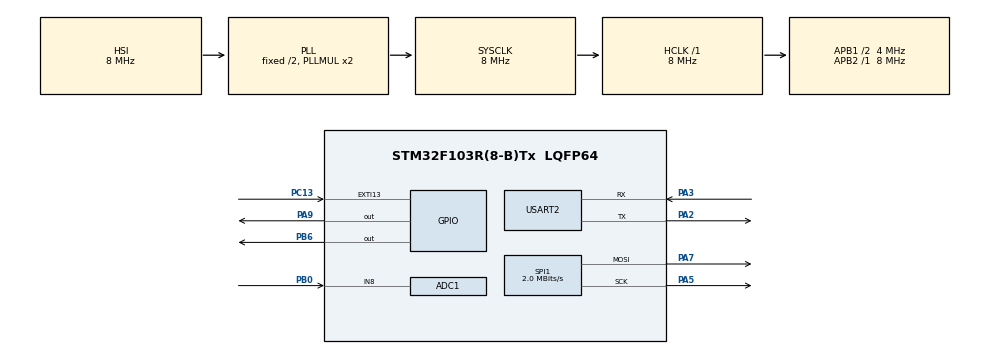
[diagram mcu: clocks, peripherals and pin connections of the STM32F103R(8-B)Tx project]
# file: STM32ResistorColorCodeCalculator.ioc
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ADC1.Channel-9\#ChannelRegularConversion=ADC_CHANNEL_8
ADC1.ContinuousConvMode=ENABLE
ADC1.NbrOfConversionFlag=1
ADC1.Rank-9\#ChannelRegularConversion=1
ADC1.SamplingTime-9\#ChannelRegularConversion=ADC_SAMPLETIME_1CYCLE_5
ADC1.master=1
FREERTOS.HEAP_NUMBER=4
FREERTOS.Mutexes01=uart2Mutex,Dynamic,NULL;spiMutex,Dynamic,NULL
FREERTOS.Queues01=joystickDisplayQueue,16,uint16_t,0,Dynamic,NULL,NULL
FREERTOS.Tasks01=defaultTask,0,128,StartDefaultTask,Default,NULL,Dynamic,NULL,NULL;joystickTask,0,128,startJoystickTask,Default,NULL,Dynamic,NULL,NULL;displayTask,0,128,startDisplayTask,Default,NULL,Dynamic,NULL,NULL
Mcu.Family=STM32F1
Mcu.Name=STM32F103R(8-B)Tx
Mcu.Package=LQFP64
NVIC.PriorityGroup=NVIC_PRIORITYGROUP_4
NVIC.TIM3_IRQn=true\:0\:0\:false\:false\:true\:false\:false\:true
NVIC.TimeBase=TIM3_IRQn
NVIC.TimeBaseIP=TIM3
PA13.Mode=Serial_Wire
PA13.Signal=SYS_JTMS-SWDIO
PA14.Mode=Serial_Wire
PA14.Signal=SYS_JTCK-SWCLK
PA2.GPIO_Mode=GPIO_MODE_AF_PP
PA2.GPIO_PuPd=GPIO_NOPULL
PA2.GPIO_Speed=GPIO_SPEED_FREQ_HIGH
PA2.Mode=Asynchronous
PA2.Signal=USART2_TX
PA3.GPIO_Mode=GPIO_MODE_INPUT
PA3.GPIO_PuPd=GPIO_NOPULL
PA3.GPIO_Speed=GPIO_SPEED_FREQ_LOW
PA3.Mode=Asynchronous
PA3.Signal=USART2_RX
PA5.Mode=TX_Only_Simplex_Unidirect_Master
PA5.Signal=SPI1_SCK
PA7.Mode=TX_Only_Simplex_Unidirect_Master
PA7.Signal=SPI1_MOSI
PA9.Signal=GPIO_Output
PB0.Signal=ADCx_IN8
PB3.Signal=SYS_JTDO-TRACESWO
PB6.Signal=GPIO_Output
PC13-TAMPER-RTC.GPIO_ModeDefaultEXTI=GPIO_MODE_IT_RISING
PC13-TAMPER-RTC.GPIO_PuPd=GPIO_NOPULL
PC13-TAMPER-RTC.Signal=GPXTI13
PC14-OSC32_IN.Mode=LSE-External-Oscillator
PC14-OSC32_IN.Signal=RCC_OSC32_IN
PC15-OSC32_OUT.Mode=LSE-External-Oscillator
PC15-OSC32_OUT.Signal=RCC_OSC32_OUT
PD0-OSC_IN.Mode=HSE-External-Clock-Source
PD0-OSC_IN.Signal=RCC_OSC_IN
PD1-OSC_OUT.Mode=HSE-External-Clock-Source
PD1-OSC_OUT.Signal=RCC_OSC_OUT
ProjectManager.HeapSize=0x200
ProjectManager.StackSize=0x400
ProjectManager.TargetToolchain=MDK-ARM V5
RCC.AHBFreq_Value=8000000
RCC.APB1CLKDivider=RCC_HCLK_DIV2
RCC.APB1Freq_Value=4000000
RCC.APB1TimFreq_Value=8000000
RCC.APB2Freq_Value=8000000
RCC.APB2TimFreq_Value=8000000
RCC.HCLKFreq_Value=8000000
RCC.RTCClockSelection=RCC_RTCCLKSOURCE_LSE
RCC.SYSCLKFreq_VALUE=8000000
RCC.SYSCLKSource=RCC_SYSCLKSOURCE_PLLCLK
RCC.USBFreq_Value=8000000
SH.ADCx_IN8.0=ADC1_IN8,IN8
SPI1.BaudRatePrescaler=SPI_BAUDRATEPRESCALER_4
SPI1.CalculateBaudRate=2.0 MBits/s
SPI1.Direction=SPI_DIRECTION_2LINES
SPI1.Mode=SPI_MODE_MASTER
SPI1.VirtualType=VM_MASTER
USART2.VirtualMode=VM_ASYNC
VP_FREERTOS_VS_CMSIS_V1.Mode=CMSIS_V1
VP_SYS_VS_tim3.Mode=TIM3
board=NUCLEO-F103RB

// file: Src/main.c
/* USER CODE BEGIN Header */
/**
  ******************************************************************************
  * @file           : main.c
  * @brief          : Main program body
  ******************************************************************************
  * @attention
  *
  * <h2><center>&copy; Copyright (c) 2019 STMicroelectronics.
  * All rights reserved.</center></h2>
  *
  * This software component is licensed by ST under Ultimate Liberty license
  * SLA0044, the "License"; You may not use this file except in compliance with
  * the License. You may obtain a copy of the License at:
  *                             www.st.com/SLA0044
  *
  ******************************************************************************
  */
/* USER CODE END Header */

#include "main.h"
#include "cmsis_os.h"

/* USER CODE BEGIN Includes */
#include <string.h>
#include "st7735.h"
/* USER CODE END Includes */

/* USER CODE BEGIN PD */
// Joystick direction definitions
#define jsNeutral 0
#define jsPress 1
#define jsUp 2
#define jsDown 3
#define jsRight 4
#define jsLeft 5
/* USER CODE END PD */

ADC_HandleTypeDef hadc1;

SPI_HandleTypeDef hspi1;

UART_HandleTypeDef huart2;

osThreadId defaultTaskHandle;
osThreadId joystickTaskHandle;
osThreadId displayTaskHandle;
osMessageQId joystickDisplayQueueHandle;
osMutexId uart2MutexHandle;
osMutexId spiMutexHandle;
/* USER CODE BEGIN PV */
// LED Blinking PVs
int pinDelay[4] = {50, 100, 300, 600};
volatile uint8_t pinDelayIndex = 0;
// Joystick PVs
uint8_t jsHeld = 0; // 0 - false, 1 - true

// Logic PVs
uint8_t pointerIndex = 0; // inddex for pointer for resistor color selection
uint8_t bandIndex = 0; // index for resistor band selection
enum logicState {IDLE, SEL_FIRST, SEL_SECOND, SEL_THIRD, SEL_FOURTH, CHECK_CALC, CALC};
enum logicState currState = IDLE; // FSM state for resistor color code selection

// Display PVs
const uint16_t backgroundColor = 0x9BCE;
const uint16_t pointerColor = 0x001F;
const uint16_t resistorColor = 0xCF9F;
const uint16_t resistorBandColors[] = {0x0000, 0x3374, 0x001F, 0x1CDF, 0x1F9F,
                                       0x1FEC, 0xFAE3, 0xFC75, 0x9C92, 0xFFDF};
const uint8_t bandIndices[] = {46, 63, 80, 106};
uint8_t selectedValues[] = {0xFF, 0xFF, 0xFF, 0xFF}; // Values defaulted to 0xFF
/* USER CODE END PV */

void SystemClock_Config(void);
static void MX_GPIO_Init(void);
static void MX_USART2_UART_Init(void);
static void MX_ADC1_Init(void);
static void MX_SPI1_Init(void);
void StartDefaultTask(void const * argument);
void startJoystickTask(void const * argument);
void startDisplayTask(void const * argument);

/* USER CODE BEGIN PFP */
uint8_t checkJoystick();
/* USER CODE END PFP */

int main(void)
{

  /* MCU Configuration--------------------------------------------------------*/

  /* Reset of all peripherals, Initializes the Flash interface and the Systick. */
  HAL_Init();

  /* Configure the system clock */
  SystemClock_Config();

  /* Initialize all configured peripherals */
  MX_GPIO_Init();
  MX_USART2_UART_Init();
  MX_ADC1_Init();
  MX_SPI1_Init();
  /* USER CODE BEGIN 2 */
  // Keep slave select high for now
  HAL_GPIO_WritePin(GPIOB, GPIO_PIN_6, GPIO_PIN_SET);
  //ST7735Initialize();
  /* USER CODE END 2 */

  /* Create the mutex(es) */
  /* definition and creation of uart2Mutex */
  osMutexDef(uart2Mutex);
  uart2MutexHandle = osMutexCreate(osMutex(uart2Mutex));

  /* definition and creation of spiMutex */
  osMutexDef(spiMutex);
  spiMutexHandle = osMutexCreate(osMutex(spiMutex));

  /* Create the queue(s) */
  /* definition and creation of joystickDisplayQueue */
  osMessageQDef(joystickDisplayQueue, 16, uint16_t);
  joystickDisplayQueueHandle = osMessageCreate(osMessageQ(joystickDisplayQueue), NULL);

  /* Create the thread(s) */
  /* definition and creation of defaultTask */
  osThreadDef(defaultTask, StartDefaultTask, osPriorityNormal, 0, 128);
  defaultTaskHandle = osThreadCreate(osThread(defaultTask), NULL);

  /* definition and creation of joystickTask */
  osThreadDef(joystickTask, startJoystickTask, osPriorityNormal, 0, 128);
  joystickTaskHandle = osThreadCreate(osThread(joystickTask), NULL);

  /* definition and creation of displayTask */
  osThreadDef(displayTask, startDisplayTask, osPriorityNormal, 0, 128);
  displayTaskHandle = osThreadCreate(osThread(displayTask), NULL);

  /* Start scheduler */
  osKernelStart();

  /* We should never get here as control is now taken by the scheduler */

  /* Infinite loop */
  while (1)
  {

  }
}

void SystemClock_Config(void)
{
  RCC_OscInitTypeDef RCC_OscInitStruct = {0};
  RCC_ClkInitTypeDef RCC_ClkInitStruct = {0};
  RCC_PeriphCLKInitTypeDef PeriphClkInit = {0};

  /** Initializes the CPU, AHB and APB busses clocks
  */
  RCC_OscInitStruct.OscillatorType = RCC_OSCILLATORTYPE_HSI;
  RCC_OscInitStruct.HSIState = RCC_HSI_ON;
  RCC_OscInitStruct.HSICalibrationValue = RCC_HSICALIBRATION_DEFAULT;
  RCC_OscInitStruct.PLL.PLLState = RCC_PLL_ON;
  RCC_OscInitStruct.PLL.PLLSource = RCC_PLLSOURCE_HSI_DIV2;
  RCC_OscInitStruct.PLL.PLLMUL = RCC_PLL_MUL2;
  if (HAL_RCC_OscConfig(&RCC_OscInitStruct) != HAL_OK)
  {
    Error_Handler();
  }
  /** Initializes the CPU, AHB and APB busses clocks
  */
  RCC_ClkInitStruct.ClockType = RCC_CLOCKTYPE_HCLK|RCC_CLOCKTYPE_SYSCLK
                              |RCC_CLOCKTYPE_PCLK1|RCC_CLOCKTYPE_PCLK2;
  RCC_ClkInitStruct.SYSCLKSource = RCC_SYSCLKSOURCE_PLLCLK;
  RCC_ClkInitStruct.AHBCLKDivider = RCC_SYSCLK_DIV1;
  RCC_ClkInitStruct.APB1CLKDivider = RCC_HCLK_DIV2;
  RCC_ClkInitStruct.APB2CLKDivider = RCC_HCLK_DIV1;

  if (HAL_RCC_ClockConfig(&RCC_ClkInitStruct, FLASH_LATENCY_0) != HAL_OK)
  {
    Error_Handler();
  }
  PeriphClkInit.PeriphClockSelection = RCC_PERIPHCLK_ADC;
  PeriphClkInit.AdcClockSelection = RCC_ADCPCLK2_DIV2;
  if (HAL_RCCEx_PeriphCLKConfig(&PeriphClkInit) != HAL_OK)
  {
    Error_Handler();
  }
}

static void MX_ADC1_Init(void)
{

  ADC_ChannelConfTypeDef sConfig = {0};

  /** Common config
  */
  hadc1.Instance = ADC1;
  hadc1.Init.ScanConvMode = ADC_SCAN_DISABLE;
  hadc1.Init.ContinuousConvMode = ENABLE;
  hadc1.Init.DiscontinuousConvMode = DISABLE;
  hadc1.Init.ExternalTrigConv = ADC_SOFTWARE_START;
  hadc1.Init.DataAlign = ADC_DATAALIGN_RIGHT;
  hadc1.Init.NbrOfConversion = 1;
  if (HAL_ADC_Init(&hadc1) != HAL_OK)
  {
    Error_Handler();
  }
  /** Configure Regular Channel
  */
  sConfig.Channel = ADC_CHANNEL_8;
  sConfig.Rank = ADC_REGULAR_RANK_1;
  sConfig.SamplingTime = ADC_SAMPLETIME_1CYCLE_5;
  if (HAL_ADC_ConfigChannel(&hadc1, &sConfig) != HAL_OK)
  {
    Error_Handler();
  }

}

static void MX_SPI1_Init(void)
{

  /* SPI1 parameter configuration*/
  hspi1.Instance = SPI1;
  hspi1.Init.Mode = SPI_MODE_MASTER;
  hspi1.Init.Direction = SPI_DIRECTION_2LINES;
  hspi1.Init.DataSize = SPI_DATASIZE_8BIT;
  hspi1.Init.CLKPolarity = SPI_POLARITY_LOW;
  hspi1.Init.CLKPhase = SPI_PHASE_1EDGE;
  hspi1.Init.NSS = SPI_NSS_SOFT;
  hspi1.Init.BaudRatePrescaler = SPI_BAUDRATEPRESCALER_4;
  hspi1.Init.FirstBit = SPI_FIRSTBIT_MSB;
  hspi1.Init.TIMode = SPI_TIMODE_DISABLE;
  hspi1.Init.CRCCalculation = SPI_CRCCALCULATION_DISABLE;
  hspi1.Init.CRCPolynomial = 10;
  if (HAL_SPI_Init(&hspi1) != HAL_OK)
  {
    Error_Handler();
  }

}

static void MX_USART2_UART_Init(void)
{

  huart2.Instance = USART2;
  huart2.Init.BaudRate = 115200;
  huart2.Init.WordLength = UART_WORDLENGTH_8B;
  huart2.Init.StopBits = UART_STOPBITS_1;
  huart2.Init.Parity = UART_PARITY_NONE;
  huart2.Init.Mode = UART_MODE_TX_RX;
  huart2.Init.HwFlowCtl = UART_HWCONTROL_NONE;
  huart2.Init.OverSampling = UART_OVERSAMPLING_16;
  if (HAL_UART_Init(&huart2) != HAL_OK)
  {
    Error_Handler();
  }

}

static void MX_GPIO_Init(void)
{
  GPIO_InitTypeDef GPIO_InitStruct = {0};

  /* GPIO Ports Clock Enable */
  __HAL_RCC_GPIOC_CLK_ENABLE();
  __HAL_RCC_GPIOD_CLK_ENABLE();
  __HAL_RCC_GPIOA_CLK_ENABLE();
  __HAL_RCC_GPIOB_CLK_ENABLE();

  /*Configure GPIO pin Output Level */
  HAL_GPIO_WritePin(GPIOA, GPIO_PIN_9, GPIO_PIN_RESET);

  /*Configure GPIO pin Output Level */
  HAL_GPIO_WritePin(GPIOB, GPIO_PIN_6, GPIO_PIN_RESET);

  /*Configure GPIO pin : PC13 */
  GPIO_InitStruct.Pin = GPIO_PIN_13;
  GPIO_InitStruct.Mode = GPIO_MODE_IT_RISING;
  GPIO_InitStruct.Pull = GPIO_NOPULL;
  HAL_GPIO_Init(GPIOC, &GPIO_InitStruct);

  /*Configure GPIO pin : PA9 */
  GPIO_InitStruct.Pin = GPIO_PIN_9;
  GPIO_InitStruct.Mode = GPIO_MODE_OUTPUT_PP;
  GPIO_InitStruct.Pull = GPIO_NOPULL;
  GPIO_InitStruct.Speed = GPIO_SPEED_FREQ_LOW;
  HAL_GPIO_Init(GPIOA, &GPIO_InitStruct);

  /*Configure GPIO pin : PB6 */
  GPIO_InitStruct.Pin = GPIO_PIN_6;
  GPIO_InitStruct.Mode = GPIO_MODE_OUTPUT_PP;
  GPIO_InitStruct.Pull = GPIO_NOPULL;
  GPIO_InitStruct.Speed = GPIO_SPEED_FREQ_LOW;
  HAL_GPIO_Init(GPIOB, &GPIO_InitStruct);

}

/* USER CODE BEGIN 4 */
void HAL_GPIO_EXTI_Callback(uint16_t GPIO_Pin) {
  if (pinDelayIndex < sizeof(pinDelay)/sizeof(pinDelay[0]) - 1) {
    pinDelayIndex++;
  } else {
    pinDelayIndex = 0;
  }
}

uint8_t checkJoystick() {
  HAL_ADC_PollForConversion(&hadc1, HAL_MAX_DELAY);
  int val = HAL_ADC_GetValue(&hadc1);
  val = val >> 2; // Reduce from 12-bit res to 10-bit
  if (val < 50) {
    return jsLeft;
  } else if (val < 200) {
    return jsDown;
  } else if (val < 400) {
    return jsPress;
  } else if (val < 600) {
    return jsRight;
  } else if (val < 950) {
    return jsUp;
  }
  return jsNeutral;
}

void drawPointer(uint8_t x, uint8_t y, uint8_t w, uint8_t h, uint16_t color, uint16_t bgColor) {
  uint8_t sendDataColor[] = {color >> 8, color & 0xFF};
  uint8_t sendDataBgColor[] = {bgColor >> 8, bgColor & 0xFF};
  ST7735Select();
  setAddrWindow(x, y, w, h);
  for (int j = 0; j < h; j++) {
    for (int i = 0; i < w; i++) {
      if ( i <= ((w / 2) + j) && i >= ((w / 2) - j)) {
        ST7735WriteData(sendDataColor, sizeof(sendDataColor));
      } else {
        ST7735WriteData(sendDataBgColor, sizeof(sendDataBgColor));
      }
    }
  }
  ST7735Deselect();
}

void drawResistor() {
  drawRectangle(0, 50, 20, 10, 0xF79E);
  drawRectangle(ST7735_TFTWIDTH - 20, 50, 20, 10, 0xF79E);
  drawRectangle(20, 45, ST7735_TFTWIDTH - 40, 20, resistorColor);
  drawRectangle(22, 43, 40, 2, resistorColor);
  drawRectangle(98, 43, 40, 2, resistorColor);
  drawRectangle(22, 65, 40, 2, resistorColor);
  drawRectangle(98, 65, 40, 2, resistorColor);
  drawRectangle(28, 41, 24, 2, resistorColor);
  drawRectangle(108, 41, 24, 2, resistorColor);
  drawRectangle(28, 67, 24, 2, resistorColor);
  drawRectangle(108, 67, 24, 2, resistorColor);
}

void drawFirstBand(uint16_t color) {
  drawRectangle(46, 41, 6, 28, color);
  drawRectangle(52, 43, 4, 24, color);
}

void drawSecondBand(uint16_t color) {
  drawRectangle(63, 45, 10, 20, color);
}

void drawThirdBand(uint16_t color) {
  drawRectangle(80, 45, 10, 20, color);
}

void drawFourthBand(uint16_t color) {
  drawRectangle(106, 43, 2, 24, color);
  drawRectangle(108, 41, 8, 28, color);
}

void resistorGuiInit() {
  //{0x0000, 0x3374, 0x001F, 0x1CDF, 0x1F9F, 0x1FEC, 0xFAE3, 0xFC75, 0x9C92, 0xFFDF}
  // Draw resistor color codes
  drawRectangle(0, 0, 16, 10, resistorBandColors[0]); // Black
  drawRectangle(16, 0, 16, 10, resistorBandColors[1]); // Brown
  drawRectangle(32, 0, 16, 10, resistorBandColors[2]); // Red
  drawRectangle(48, 0, 16, 10, resistorBandColors[3]); // Orange
  drawRectangle(64, 0, 16, 10, resistorBandColors[4]); // Yellow
  drawRectangle(80, 0, 16, 10, resistorBandColors[5]); // Green
  drawRectangle(96, 0, 16, 10, resistorBandColors[6]); // Blue
  drawRectangle(112, 0, 16, 10, resistorBandColors[7]); // Violet
  drawRectangle(128, 0, 16, 10, resistorBandColors[8]); // Grey
  drawRectangle(144, 0, 16, 10, resistorBandColors[9]); // White
  drawPointer(0, 15, 15, 10, pointerColor, backgroundColor); // Color pointer
  drawPointer(46, 80, 10, 5, pointerColor, backgroundColor); // Band pointer
  // Draw resistor
  drawResistor();
}

// Note: char* buff must point to an array of at least size 11
void int2str(uint64_t num, char* buff) {
  char values[11];
  uint8_t valuesIndex = 0;
  uint8_t digit = num % 10;
  values[valuesIndex++] = "0123456789"[digit];
  num /= 10;
  while (num != 0) {
    digit = num % 10;
    values[valuesIndex++] = "0123456789"[digit];
    num /= 10;
  }

  while (valuesIndex > 0) {
    *buff = values[--valuesIndex];
    buff++;
  }
  return;
}

/* USER CODE END 4 */

void StartDefaultTask(void const * argument)
{

  for(;;)
  {
    osDelay(1);
  }
}

void startJoystickTask(void const * argument)
{
  /* USER CODE BEGIN startJoystickTask */
  HAL_ADC_Start(&hadc1);
  /* Infinite loop */
  for(;;)
  {
    uint8_t jsCommand = checkJoystick();
    if (jsCommand != jsNeutral) {
      if (jsHeld == 0) {
        osMutexWait(uart2MutexHandle, 50);
        osMutexWait(spiMutexHandle, 50);
        switch(jsCommand) {
          case jsUp:
            HAL_UART_Transmit(&huart2, (uint8_t*)"Up\r\n", strlen("Up\r\n"), HAL_MAX_DELAY);
            if (bandIndex > 0) {
              drawRectangle(bandIndices[bandIndex--], 80, 10, 10, backgroundColor);
            } else {
              drawRectangle(bandIndices[bandIndex], 80, 10, 10, backgroundColor);
              bandIndex = 3;
            }
            drawPointer(bandIndices[bandIndex], 80, 10, 5, pointerColor, backgroundColor);
            break;
          case jsDown:
            HAL_UART_Transmit(&huart2, (uint8_t*)"Down\r\n", strlen("Down\r\n"), HAL_MAX_DELAY);
            if (bandIndex < 3) {
              drawRectangle(bandIndices[bandIndex++], 80, 10, 10, backgroundColor);
            } else {
              drawRectangle(bandIndices[bandIndex], 80, 10, 10, backgroundColor);
              bandIndex = 0;
            }
            drawPointer(bandIndices[bandIndex], 80, 10, 5, pointerColor, backgroundColor);
            break;
          case jsLeft:
            HAL_UART_Transmit(&huart2, (uint8_t*)"Left\r\n", strlen("Left\r\n"), HAL_MAX_DELAY);
            if (pointerIndex > 0) {
              drawRectangle(16 * pointerIndex--, 15, 15, 10, backgroundColor);
            } else {
              drawRectangle(16 * pointerIndex, 15, 15, 10, backgroundColor);
              pointerIndex = 9;
            }
            drawPointer(16 * pointerIndex, 15, 15, 10, pointerColor, backgroundColor);
            break;
          case jsRight:
            HAL_UART_Transmit(&huart2, (uint8_t*)"Right\r\n", strlen("Right\r\n"), HAL_MAX_DELAY);
            if (pointerIndex < 9) {
              drawRectangle(16 * pointerIndex++, 15, 15, 10, backgroundColor);
            } else {
              drawRectangle(16 * pointerIndex, 15, 15, 10, backgroundColor);
              pointerIndex = 0;
            }
            drawPointer(16 * pointerIndex, 15, 15, 10, pointerColor, backgroundColor);
            break;
          case jsPress:
            HAL_UART_Transmit(&huart2, (uint8_t*)"Press\r\n", strlen("Press\r\n"), HAL_MAX_DELAY);
            osMessagePut(joystickDisplayQueueHandle, 0xABCD, 100);
            break;
        }
        osMutexRelease(uart2MutexHandle);
        osMutexRelease(spiMutexHandle);
      }
      jsHeld = 1;
    } else {
      jsHeld = 0;
    }
    osDelay(10);
  }
  /* USER CODE END startJoystickTask */
}

void startDisplayTask(void const * argument)
{
  /* USER CODE BEGIN startDisplayTask */
  const uint8_t txData[26] = "Hello from startSendUart\r\n";
  osMutexWait(uart2MutexHandle, 50);
  HAL_UART_Transmit(&huart2, (uint8_t*)txData, 26, HAL_MAX_DELAY);
  osMutexRelease(uart2MutexHandle);
  ST7735Initialize();
  drawCustomBackground(backgroundColor);
  resistorGuiInit();
  int ohms = 0;
  /* Infinite loop */
  for(;;)
  {
    switch(currState) {
      case IDLE:
        osMessageGet(joystickDisplayQueueHandle, osWaitForever);
        if (bandIndex == 0) {
          currState = SEL_FIRST;
        } else if (bandIndex == 1) {
          currState = SEL_SECOND;
        } else if (bandIndex == 2) {
          currState = SEL_THIRD;
        } else if (bandIndex == 3) {
          currState = SEL_FOURTH;
        }
        break;
      case SEL_FIRST:
        drawFirstBand(resistorBandColors[pointerIndex]);
        selectedValues[bandIndex] = pointerIndex;
        drawRectangle(bandIndices[bandIndex++], 80, 10, 10, backgroundColor);
        drawPointer(bandIndices[bandIndex], 80, 10, 5, pointerColor, backgroundColor);
        currState = CHECK_CALC;
        break;
      case SEL_SECOND:
        drawSecondBand(resistorBandColors[pointerIndex]);
        selectedValues[bandIndex] = pointerIndex;
        drawRectangle(bandIndices[bandIndex++], 80, 10, 10, backgroundColor);
        drawPointer(bandIndices[bandIndex], 80, 10, 5, pointerColor, backgroundColor);
        currState = CHECK_CALC;
        break;
      case SEL_THIRD:
        drawThirdBand(resistorBandColors[pointerIndex]);
        selectedValues[bandIndex] = pointerIndex;
        drawRectangle(bandIndices[bandIndex++], 80, 10, 10, backgroundColor);
        drawPointer(bandIndices[bandIndex], 80, 10, 5, pointerColor, backgroundColor);
        currState = CHECK_CALC;
        break;
      case SEL_FOURTH:
        drawFourthBand(resistorBandColors[pointerIndex]);
        selectedValues[bandIndex] = pointerIndex;
        drawRectangle(bandIndices[bandIndex], 80, 10, 10, backgroundColor);
        bandIndex = 0;
        drawPointer(bandIndices[bandIndex], 80, 10, 5, pointerColor, backgroundColor);
        currState = CHECK_CALC;
        break;
      case CHECK_CALC:
        if ((selectedValues[0]!= 0xFF) && (selectedValues[1] != 0xFF) && (selectedValues[2] != 0xFF)) {
          currState = CALC;
        } else {
          currState = IDLE;
        }
        break;
      case CALC:
        ohms = (selectedValues[0] * 10 + selectedValues[1]) * 10^(selectedValues[2]);
        if ((ohms / 10^9) > 0) { // Display G before ohms
					// Check if 2nd digit in 10^8's spot
					if ((ohms / 10^8) % 10 > 0) {
					} else {
					}
        } else if ((ohms / 10^6) > 0) { // Display M before Ohms
					if ((ohms /10^5) % 10 > 0) {
					} else {
					}
        } else if ((ohms / 10^3) > 0) { // Display k before Ohms
					if ((ohms /10^2) % 10 > 0) {
					} else {
					}
        } else {
        }
        currState = IDLE;
        break;
    }
    osDelay(50);
  }
  /* USER CODE END startDisplayTask */
}

void HAL_TIM_PeriodElapsedCallback(TIM_HandleTypeDef *htim)
{
  if (htim->Instance == TIM3) {
    HAL_IncTick();
  }
}

void Error_Handler(void)
{
}

/************************ (C) COPYRIGHT STMicroelectronics *****END OF FILE****/
